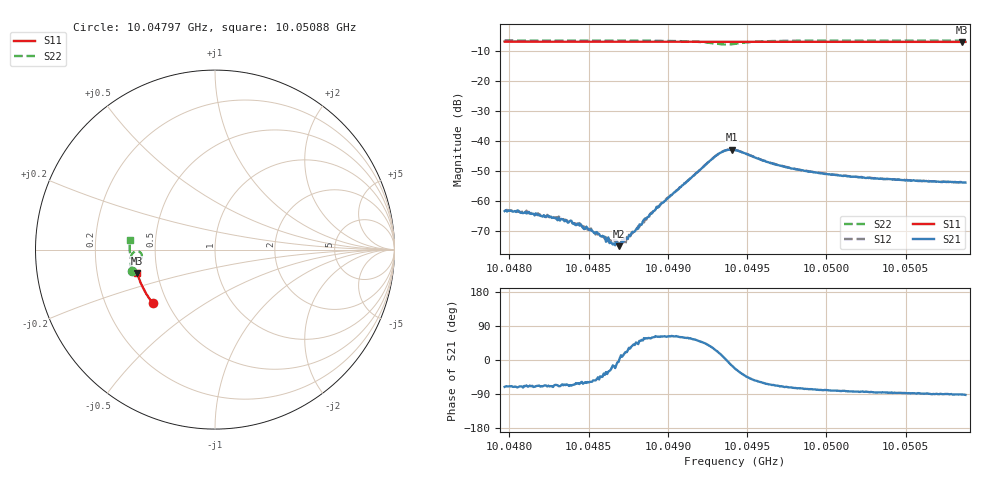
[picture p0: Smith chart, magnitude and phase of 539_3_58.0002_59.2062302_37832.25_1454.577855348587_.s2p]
#  HZ  S  RI  R  50.00
! Rohde & Schwarz Vector Network Analyzer
! Rohde-Schwarz,ZNB20-2Port,1311601062101988,3.16
! Created: UTC 3/21/2024, 1:14:26 AM
! freq[Hz]  re:S11  im:S11  re:S21  im:S21  re:S12  im:S12  re:S22  im:S22
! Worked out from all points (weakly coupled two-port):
!   401 points, 10.04797 GHz to 10.05088 GHz, reference 50 ohm
!   highest |S21| = -42.87 dB at 10.0494 GHz (marker M1); lowest = -75.1 dB at 10.04869 GHz (marker M2)
!   lowest |S11| = -6.9 dB at 10.05086 GHz (marker M3), VSWR 2.65, Z = 19.2 - j6.36 ohm
!   |S11| at or under -10 dB: nowhere
!   |S22| runs from -7.8 to -6.4 dB; largest |S21 - S12| = 0.00052
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1.004797e10  -0.3463 -0.2984  0.000224 -0.000642  0.000282 -0.000638  -0.4624 -0.1207
1.0048115e10  -0.3524 -0.2909  0.000213 -0.000601  0.000258 -0.000573  -0.4646 -0.1107
1.0048304e10  -0.3596 -0.281  0.000189 -0.000438  0.000248 -0.000461  -0.467 -0.0975
1.0048391e10  -0.3632 -0.2763  0.000178 -0.000433  0.000214 -0.000387  -0.4681 -0.0911
1.0048457e10  -0.3657 -0.2728  0.000207 -0.000326  0.000196 -0.000328  -0.4685 -0.0863
1.0048566e10  -0.3697 -0.267  0.000177 -0.000222  0.000182 -0.000211  -0.4696 -0.0779
1.0048602e10  -0.371 -0.2649  0.000195 -0.00016  0.000197 -0.000128  -0.4697 -0.0751
1.0048646e10  -0.3726 -0.2624  0.000185 -7e-05  0.000184 -8.26e-05  -0.4701 -0.0715
1.0048689e10  -0.3742 -0.2601  0.000176 -1.43e-05  0.000187 1.09e-05  -0.47 -0.068
1.0048733e10  -0.3758 -0.2576  0.000218 8.36e-05  0.000169 9.78e-05  -0.4704 -0.0644
1.0048798e10  -0.378 -0.2541  0.000231 0.00024  0.000207 0.000247  -0.4704 -0.0587
1.0048856e10  -0.3802 -0.2506  0.00028 0.00042  0.00026 0.00044  -0.4701 -0.0535
1.0048944e10  -0.3832 -0.246  0.000391 0.000725  0.000328 0.000729  -0.4689 -0.0447
1.0049307e10  -0.3945 -0.2249  0.0053 0.00237  0.00514 0.00269  -0.421 -0.0122
1.0049358e10  -0.396 -0.222  0.00691 0.000548  0.00687 0.00096  -0.4082 -0.0288
1.0049402e10  -0.3972 -0.2197  0.00698 -0.00172  0.00715 -0.0013  -0.4104 -0.0482
1.0049423e10  -0.3978 -0.2186  0.00655 -0.00272  0.00675 -0.00228  -0.4161 -0.0554
1.0049678e10  -0.4057 -0.204  0.00156 -0.00377  0.00181 -0.00371  -0.466 -0.0425
1.004991e10  -0.412 -0.19  0.000687 -0.00298  0.000828 -0.00296  -0.4736 -0.0181
1.0050397e10  -0.4236 -0.1602  0.000156 -0.00232  0.000276 -0.00229  -0.4753 0.0207
1.0050855e10  -0.4326 -0.1317  -3.36e-05 -0.00205  6.41e-05 -0.00203  -0.4729 0.0531
1.0050877e10  -0.4331 -0.1303  -7.14e-05 -0.00203  5.99e-05 -0.00205  -0.4727 0.0546
